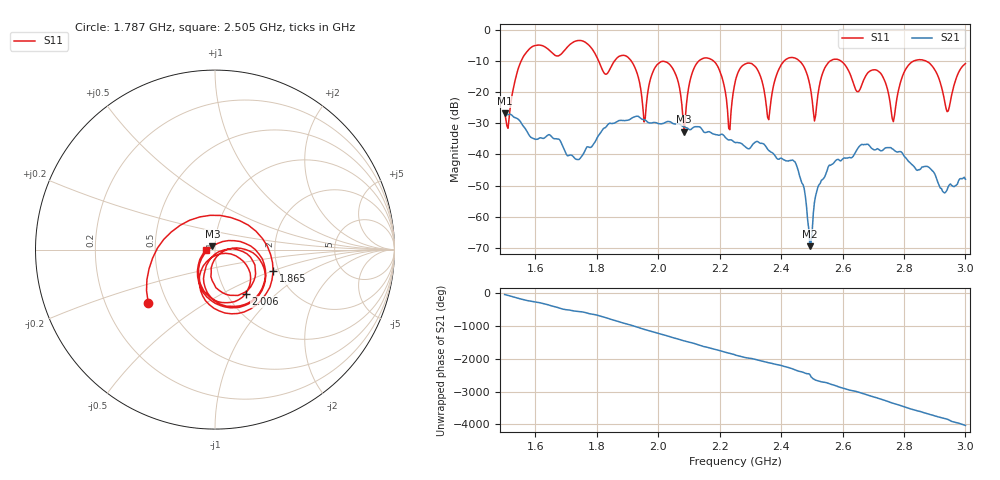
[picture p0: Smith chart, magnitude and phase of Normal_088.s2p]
# HZ S RI R 50
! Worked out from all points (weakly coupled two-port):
!   404 points, 1.5 GHz to 3 GHz, reference 50 ohm
!   highest |S21| = -26.88 dB at 1.5 GHz (marker M1); lowest = -69.4 dB at 2.494 GHz (marker M2)
!   lowest |S11| = -32.7 dB at 2.084 GHz (marker M3), VSWR 1.05, Z = 48.6 + j1.78 ohm
!   |S11| at or under -10 dB: 1.912 GHz to 2.133 GHz (221.5 MHz wide, 11 % of centre); 2.179 GHz to 2.411 GHz (231.7 MHz wide, 10.1 % of centre); 2.593 GHz to 2.834 GHz (240.5 MHz wide, 8.86 % of centre) (the widest 3 of 7)
!   S12 and S22 are empty: the file has one direction only
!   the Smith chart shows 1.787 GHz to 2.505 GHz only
!   S11 on the Smith chart (normalised r, x): 1.787 GHz: 0.39, -0.30; 1.865 GHz: 1.87, -0.51; 2.006 GHz: 1.22, -0.66; 2.505 GHz: 0.91, -0.00
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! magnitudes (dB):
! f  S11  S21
! 1.5 GHz  -26.5  -26.9
! 1.582 GHz  -6.1  -34.2
! 1.753 GHz  -3.6  -40.3
! 1.787 GHz  -6.5  -37.2
! 1.865 GHz  -9.2  -29.6
! 1.954 GHz  -29.6  -29.0
! 2.002 GHz  -10.8  -30.2
! 2.006 GHz  -10.5  -30.2
! 2.084 GHz  -32.7  -31.2
! 2.136 GHz  -9.7  -31.3
! 2.23 GHz  -31.7  -35.4
! 2.252 GHz  -16.2  -36.2
! 2.36 GHz  -28.9  -38.8
! 2.442 GHz  -9.1  -42.2
! 2.494 GHz  -17.9  -69.4
! 2.501 GHz  -22.6  -64.7
! 2.505 GHz  -26.2  -58.9
! 2.576 GHz  -9.5  -42.2
! 2.751 GHz  -20.9  -37.8
! 2.859 GHz  -9.7  -44.0
! 2.944 GHz  -26.1  -50.3
! 3 GHz  -10.9  -48.0
